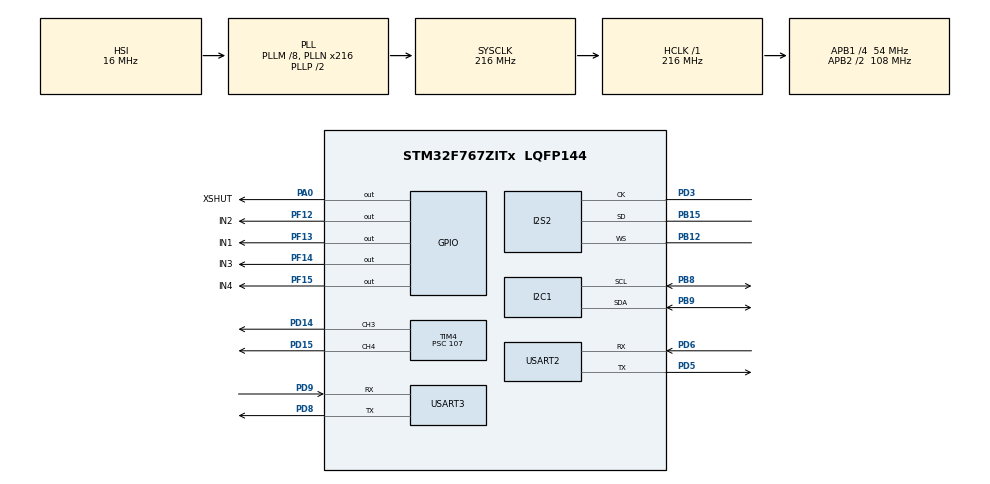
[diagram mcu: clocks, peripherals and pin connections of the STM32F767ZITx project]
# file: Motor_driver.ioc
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CORTEX_M7.default_mode_Activation=1
Dma.Request0=SPI2_TX
Dma.SPI2_TX.0.Direction=DMA_MEMORY_TO_PERIPH
Dma.SPI2_TX.0.FIFOMode=DMA_FIFOMODE_DISABLE
Dma.SPI2_TX.0.Instance=DMA1_Stream4
Dma.SPI2_TX.0.MemDataAlignment=DMA_MDATAALIGN_HALFWORD
Dma.SPI2_TX.0.MemInc=DMA_MINC_ENABLE
Dma.SPI2_TX.0.Mode=DMA_CIRCULAR
Dma.SPI2_TX.0.PeriphDataAlignment=DMA_PDATAALIGN_HALFWORD
Dma.SPI2_TX.0.PeriphInc=DMA_PINC_DISABLE
Dma.SPI2_TX.0.Priority=DMA_PRIORITY_LOW
I2C1.Timing=0x20404768
I2S2.AudioFreq=I2S_AUDIOFREQ_16K
I2S2.ErrorAudioFreq=-0.26 %
I2S2.FullDuplexMode=I2S_FULLDUPLEXMODE_DISABLE
I2S2.Instance=SPI$Index
I2S2.RealAudioFreq=15.957 KHz
I2S2.VirtualMode=I2S_MODE_MASTER
Mcu.Family=STM32F7
Mcu.Name=STM32F767ZITx
Mcu.Package=LQFP144
NVIC.DMA1_Stream4_IRQn=true\:0\:0\:false\:false\:true\:false\:true\:true
NVIC.PriorityGroup=NVIC_PRIORITYGROUP_4
NVIC.TIM6_DAC_IRQn=true\:0\:0\:false\:false\:true\:true\:true\:true
NVIC.USART2_IRQn=true\:0\:0\:false\:false\:true\:true\:true\:true
NVIC.USART3_IRQn=true\:0\:0\:false\:false\:true\:true\:true\:true
PA0/WKUP.GPIO_Label=XSHUT
PA0/WKUP.Signal=GPIO_Output
PA13.Mode=Serial_Wire
PA13.Signal=SYS_JTMS-SWDIO
PA14.Mode=Serial_Wire
PA14.Signal=SYS_JTCK-SWCLK
PB12.Mode=Half_Duplex_Master
PB12.Signal=I2S2_WS
PB15.Mode=Half_Duplex_Master
PB15.Signal=I2S2_SD
PB8.Mode=I2C
PB8.Signal=I2C1_SCL
PB9.Mode=I2C
PB9.Signal=I2C1_SDA
PD14.Signal=S_TIM4_CH3
PD15.Signal=S_TIM4_CH4
PD3.Mode=Half_Duplex_Master
PD3.Signal=I2S2_CK
PD5.Mode=Asynchronous
PD5.Signal=USART2_TX
PD6.Mode=Asynchronous
PD6.Signal=USART2_RX
PD8.Mode=Asynchronous
PD8.Signal=USART3_TX
PD9.Mode=Asynchronous
PD9.Signal=USART3_RX
PF12.GPIO_Label=IN2
PF12.Signal=GPIO_Output
PF13.GPIO_Label=IN1
PF13.Signal=GPIO_Output
PF14.GPIO_Label=IN3
PF14.Signal=GPIO_Output
PF15.GPIO_Label=IN4
PF15.Signal=GPIO_Output
ProjectManager.HeapSize=0x200
ProjectManager.StackSize=0x400
ProjectManager.TargetToolchain=STM32CubeIDE
RCC.AHBFreq_Value=216000000
RCC.APB1CLKDivider=RCC_HCLK_DIV4
RCC.APB1Freq_Value=54000000
RCC.APB1TimFreq_Value=108000000
RCC.APB2CLKDivider=RCC_HCLK_DIV2
RCC.APB2Freq_Value=108000000
RCC.APB2TimFreq_Value=216000000
RCC.CortexFreq_Value=216000000
RCC.HCLKFreq_Value=216000000
RCC.HSE_VALUE=25000000
RCC.HSI_VALUE=16000000
RCC.LSE_VALUE=32768
RCC.PLLI2SN=96
RCC.PLLM=8
RCC.PLLN=216
RCC.SYSCLKFreq_VALUE=216000000
RCC.SYSCLKSource=RCC_SYSCLKSOURCE_PLLCLK
RCC.USBFreq_Value=216000000
RCC.VCOOutputFreq_Value=432000000
SH.S_TIM4_CH3.0=TIM4_CH3,PWM Generation3 CH3
SH.S_TIM4_CH4.0=TIM4_CH4,PWM Generation4 CH4
TIM4.AutoReloadPreload=TIM_AUTORELOAD_PRELOAD_ENABLE
TIM4.Channel-PWM\ Generation3\ CH3=TIM_CHANNEL_3
TIM4.Channel-PWM\ Generation4\ CH4=TIM_CHANNEL_4
TIM4.Period=999
TIM4.Prescaler=107
TIM6.Period=199
TIM6.Prescaler=10799
USART2.VirtualMode-Asynchronous=VM_ASYNC
USART3.VirtualMode-Asynchronous=VM_ASYNC
VP_TIM4_VS_ClockSourceINT.Mode=Internal
VP_TIM6_VS_ClockSourceINT.Mode=Enable_Timer
board=custom

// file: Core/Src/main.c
/* USER CODE BEGIN Header */
/**
  ******************************************************************************
  * @file           : main.c
  * @brief          : Main program body
  ******************************************************************************
  * @attention
  *
  * Copyright (c) 2026 STMicroelectronics.
  * All rights reserved.
  *
  * This software is licensed under terms that can be found in the LICENSE file
  * in the root directory of this software component.
  * If no LICENSE file comes with this software, it is provided AS-IS.
  *
  ******************************************************************************
  */
/* USER CODE END Header */
#include "main.h"
#include "dma.h"
#include "i2c.h"
#include "i2s.h"
#include "tim.h"
#include "usart.h"
#include "gpio.h"

/* USER CODE BEGIN Includes */
#include "motor.h"
#include "console.h"
#include "link.h"
#include "alert.h"
/* USER CODE END Includes */

void SystemClock_Config(void);
static void MPU_Config(void);

int main(void)
{

  /* MPU Configuration--------------------------------------------------------*/
  MPU_Config();

  /* MCU Configuration--------------------------------------------------------*/

  /* Reset of all peripherals, Initializes the Flash interface and the Systick. */
  HAL_Init();

  /* Configure the system clock */
  SystemClock_Config();

  /* Initialize all configured peripherals */
  MX_GPIO_Init();
  MX_DMA_Init();
  MX_TIM4_Init();
  MX_TIM6_Init();
  MX_USART3_UART_Init();
  MX_USART2_UART_Init();
  MX_I2C1_Init();
  MX_I2S2_Init();
  /* USER CODE BEGIN 2 */
  motor_init(&htim4, TIM_CHANNEL_3, TIM_CHANNEL_4);
  console_init(&huart3);
  alert_init(&hi2s2);
  link_init(&huart2);
  HAL_TIM_Base_Start_IT(&htim6);
  /* USER CODE END 2 */

  /* Infinite loop */
  while (1)
  {

    /* USER CODE BEGIN 3 */
    console_poll();
    link_poll();
  }
  /* USER CODE END 3 */
}

void SystemClock_Config(void)
{
  RCC_OscInitTypeDef RCC_OscInitStruct = {0};
  RCC_ClkInitTypeDef RCC_ClkInitStruct = {0};

  /** Configure the main internal regulator output voltage
  */
  __HAL_RCC_PWR_CLK_ENABLE();
  __HAL_PWR_VOLTAGESCALING_CONFIG(PWR_REGULATOR_VOLTAGE_SCALE1);

  /** Initializes the RCC Oscillators according to the specified parameters
  * in the RCC_OscInitTypeDef structure.
  */
  RCC_OscInitStruct.OscillatorType = RCC_OSCILLATORTYPE_HSI;
  RCC_OscInitStruct.HSIState = RCC_HSI_ON;
  RCC_OscInitStruct.HSICalibrationValue = RCC_HSICALIBRATION_DEFAULT;
  RCC_OscInitStruct.PLL.PLLState = RCC_PLL_ON;
  RCC_OscInitStruct.PLL.PLLSource = RCC_PLLSOURCE_HSI;
  RCC_OscInitStruct.PLL.PLLM = 8;
  RCC_OscInitStruct.PLL.PLLN = 216;
  RCC_OscInitStruct.PLL.PLLP = RCC_PLLP_DIV2;
  RCC_OscInitStruct.PLL.PLLQ = 2;
  RCC_OscInitStruct.PLL.PLLR = 2;
  if (HAL_RCC_OscConfig(&RCC_OscInitStruct) != HAL_OK)
  {
    Error_Handler();
  }

  /** Activate the Over-Drive mode
  */
  if (HAL_PWREx_EnableOverDrive() != HAL_OK)
  {
    Error_Handler();
  }

  /** Initializes the CPU, AHB and APB buses clocks
  */
  RCC_ClkInitStruct.ClockType = RCC_CLOCKTYPE_HCLK|RCC_CLOCKTYPE_SYSCLK
                              |RCC_CLOCKTYPE_PCLK1|RCC_CLOCKTYPE_PCLK2;
  RCC_ClkInitStruct.SYSCLKSource = RCC_SYSCLKSOURCE_PLLCLK;
  RCC_ClkInitStruct.AHBCLKDivider = RCC_SYSCLK_DIV1;
  RCC_ClkInitStruct.APB1CLKDivider = RCC_HCLK_DIV4;
  RCC_ClkInitStruct.APB2CLKDivider = RCC_HCLK_DIV2;

  if (HAL_RCC_ClockConfig(&RCC_ClkInitStruct, FLASH_LATENCY_7) != HAL_OK)
  {
    Error_Handler();
  }
}

/* USER CODE BEGIN 4 */
void HAL_I2S_TxHalfCpltCallback(I2S_HandleTypeDef *hi2s)
{
  if (hi2s->Instance == SPI2)
  {
    alert_i2s_half_cplt();
  }
}

void HAL_I2S_TxCpltCallback(I2S_HandleTypeDef *hi2s)
{
  if (hi2s->Instance == SPI2)
  {
    alert_i2s_cplt();
  }
}

void HAL_TIM_PeriodElapsedCallback(TIM_HandleTypeDef *htim)
{
  if (htim->Instance == TIM6)
  {
    motor_tick();
  }
}

/* Dispatch UART events by instance: USART3 = console, USART2 = upper board link */
void HAL_UART_RxCpltCallback(UART_HandleTypeDef *huart)
{
  if (huart->Instance == USART3)
  {
    console_rx_cplt();
  }
  else if (huart->Instance == USART2)
  {
    link_rx_cplt();
  }
}

void HAL_UART_ErrorCallback(UART_HandleTypeDef *huart)
{
  if (huart->Instance == USART3)
  {
    console_rx_error();
  }
  else if (huart->Instance == USART2)
  {
    link_rx_error();
  }
}
/* USER CODE END 4 */

 /* MPU Configuration */

void MPU_Config(void)
{
  MPU_Region_InitTypeDef MPU_InitStruct = {0};

  /* Disables the MPU */
  HAL_MPU_Disable();

  /** Initializes and configures the Region and the memory to be protected
  */
  MPU_InitStruct.Enable = MPU_REGION_ENABLE;
  MPU_InitStruct.Number = MPU_REGION_NUMBER0;
  MPU_InitStruct.BaseAddress = 0x0;
  MPU_InitStruct.Size = MPU_REGION_SIZE_4GB;
  MPU_InitStruct.SubRegionDisable = 0x87;
  MPU_InitStruct.TypeExtField = MPU_TEX_LEVEL0;
  MPU_InitStruct.AccessPermission = MPU_REGION_NO_ACCESS;
  MPU_InitStruct.DisableExec = MPU_INSTRUCTION_ACCESS_DISABLE;
  MPU_InitStruct.IsShareable = MPU_ACCESS_SHAREABLE;
  MPU_InitStruct.IsCacheable = MPU_ACCESS_NOT_CACHEABLE;
  MPU_InitStruct.IsBufferable = MPU_ACCESS_NOT_BUFFERABLE;

  HAL_MPU_ConfigRegion(&MPU_InitStruct);
  /* Enables the MPU */
  HAL_MPU_Enable(MPU_PRIVILEGED_DEFAULT);

}

void Error_Handler(void)
{
  __disable_irq();
  while (1)
  {
  }
}
